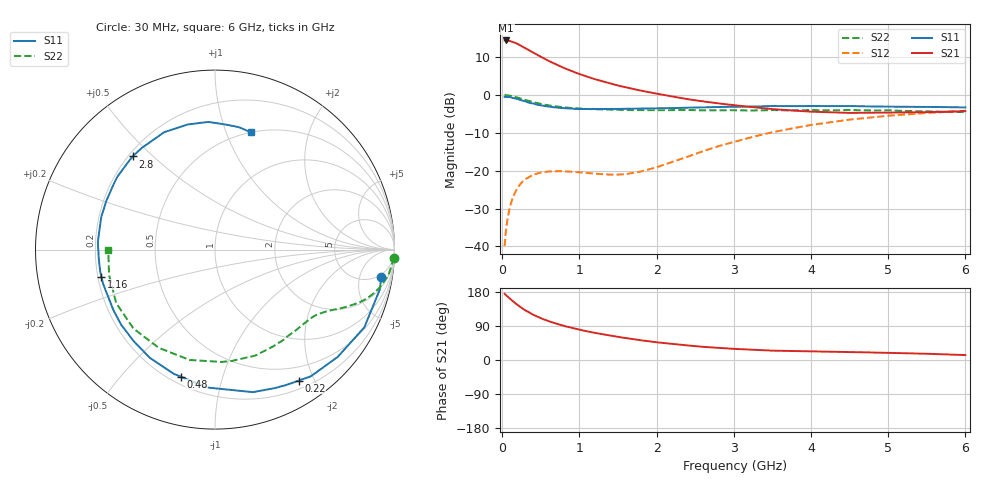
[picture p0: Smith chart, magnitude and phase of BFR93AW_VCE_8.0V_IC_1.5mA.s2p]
! Infineon Technologies  Discrete & RF Semiconductors
! BFR93AW
! VCE =  8.0 V,  IC =  1.5 mA
! Common Emitter S-Parameters:  Nov 2015
# GHz  S  MA  R  50
!  f  S11  S21  S12  S22
! GHz  MAG  ANG  MAG  ANG  MAG  ANG  MAG  ANG
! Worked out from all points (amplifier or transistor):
!   206 points, 30 MHz to 6 GHz, reference 50 ohm
!   highest |S21| = 14.4 dB at 50 MHz (marker M1)
!   |S21| within 3 dB of that: start of sweep to 382.2 MHz
!   unconditionally stable (mu >= 1): 1.3 GHz to 2.287 GHz
!   at 200 MHz: K = 0.14, MSG = 18.9 dB, |S12| = -24.4 dB
!   at 1.56 GHz: K = 1.17, MAG = 9.1 dB, |S12| = -21.0 dB
!   at 6 GHz: K = 1.00, MSG = 0.0 dB, |S12| = -4.2 dB
!   S11 on the Smith chart (normalised r, x): 30 MHz: 4, -11; 220 MHz: 0.31, -1.79; 480 MHz: 0.24, -0.74; 1.16 GHz: 0.21, -0.11; 2.8 GHz: 0.22, +0.43; 6 GHz: 0.50, +1.22
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0.03  0.9399 -9.3  5.207 174.5  0.0101 85.2  0.9981 -2.6
0.05  0.9445 -13.8  5.22 170.6  0.0172 82.9  0.9908 -4.2
0.1  0.938 -27.5  5.141 161.8  0.0335 74.5  0.9768 -8.4
0.15  0.9082 -41.2  4.936 152.8  0.0478 67.0  0.9492 -12.1
0.2  0.8852 -52.9  4.691 144.9  0.0601 61.3  0.92 -15.2
0.22  0.8662 -57.4  4.573 142.0  0.0639 58.7  0.9067 -16.3
0.26  0.8407 -66.6  4.359 136.2  0.0712 54.4  0.8812 -18.4
0.3  0.8218 -75.1  4.144 130.9  0.0774 50.7  0.8567 -20.1
0.4  0.7697 -93.2  3.613 119.4  0.0884 43.2  0.8012 -23.4
0.48  0.733 -105.2  3.262 112.1  0.0933 38.8  0.7665 -25.4
0.6  0.704 -121.0  2.806 102.3  0.0975 33.6  0.7265 -27.8
0.7  0.682 -131.8  2.514 95.9  0.0988 31.3  0.703 -29.6
0.84  0.6637 -144.5  2.177 87.9  0.0976 30.0  0.6776 -32.1
1.04  0.6503 -159.2  1.822 78.2  0.0944 30.2  0.656 -35.9
1.16  0.6507 -166.6  1.66 73.1  0.092 32.2  0.6481 -38.4
1.56  0.653 173.5  1.284 59.1  0.0895 46.7  0.633 -47.3
2.02  0.6637 155.5  1.028 46.3  0.1127 66.4  0.629 -59.3
2.8  0.6929 131.5  0.773 32.0  0.2104 76.4  0.6272 -81.2
3.1  0.6982 123.3  0.713 28.5  0.2552 74.2  0.6238 -89.9
4.1  0.7117 100.3  0.596 22.2  0.4142 60.5  0.627 -123.0
5.1  0.6978 84.0  0.584 18.4  0.5394 43.4  0.6189 -154.4
6  0.6832 73.0  0.61 13.0  0.6161 29.6  0.5944 -179.8
